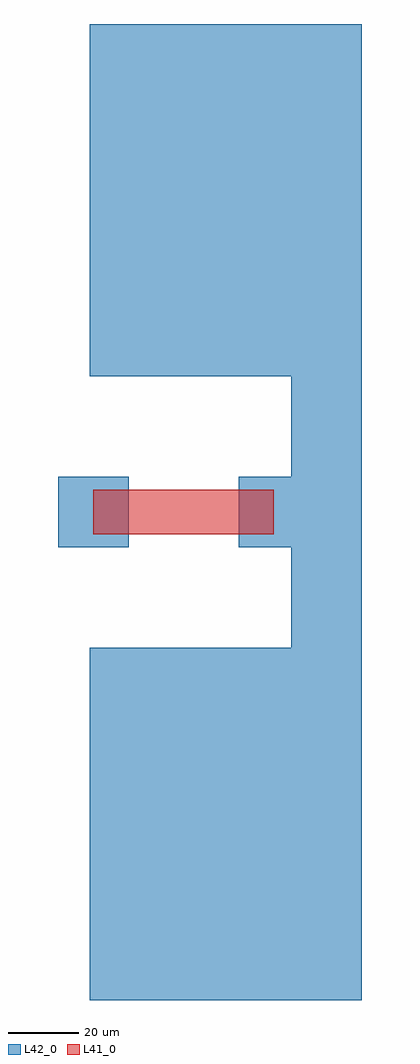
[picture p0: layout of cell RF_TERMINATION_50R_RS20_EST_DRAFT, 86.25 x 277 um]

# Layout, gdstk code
import gdstk
lib = gdstk.Library(unit=1e-6, precision=1e-09)
def R(c, l, rs):  # rectangles x0, y0, x1, y1
    for r in rs: c.add(gdstk.rectangle(r[:2], r[2:], *l))
L41_0 = (41, 0)
L42_0 = (42, 0)

rf_termination_50r_rs20_ = lib.new_cell('RF_TERMINATION_50R_RS20_EST_DRAFT')
R(rf_termination_50r_rs20_, L41_0, [(0,-6.25,51.25,6.25)])
R(rf_termination_50r_rs20_, L42_0, [(-1,-138.5,57.25,-38.5), (56.25,-138.5,76.25,138.5), (-10,-10,10,10), (41.25,-10,66.25,10), (-1,38.5,57.25,138.5)])
rf_termination_50r_rs20_.add(gdstk.Label('RF_TERMINATION_50R_EST_RS20', (0,-170), layer=101, texttype=0))

lib.write_gds('RF_TERMINATION_50R_RS20_EST_DRAFT.gds')
